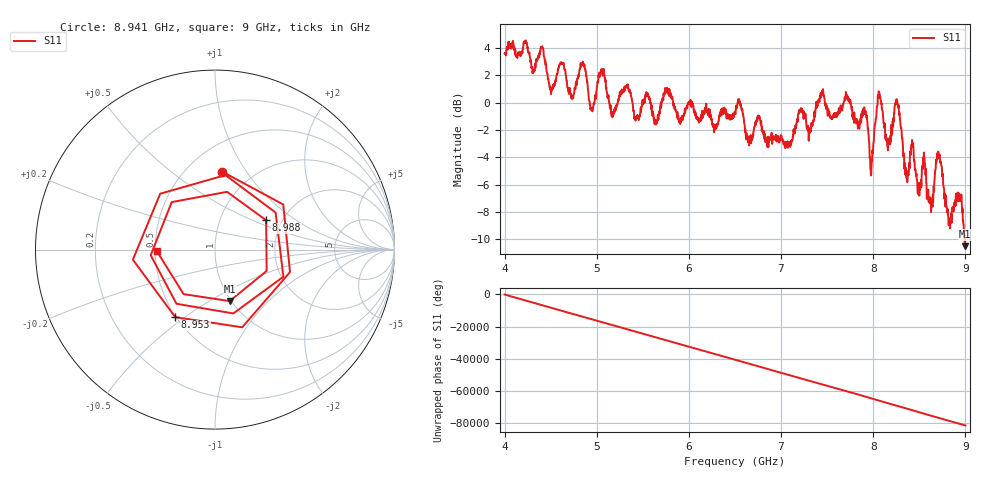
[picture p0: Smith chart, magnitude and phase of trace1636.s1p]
! Created with skrf 1.8.0 (http://scikit-rf.org).
# Hz S RI R 50.0
!freq ReS11 ImS11
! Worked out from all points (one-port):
!   1601 points, 4 GHz to 9 GHz, reference 50 ohm
!   lowest |S11| = -10.5 dB at 8.994 GHz (marker M1), VSWR 1.85, Z = 49.2 - j31 ohm
!   |S11| at or under -10 dB: 8.990125 GHz to 8.998728 GHz (8.603 MHz wide, 0.0956 % of centre)
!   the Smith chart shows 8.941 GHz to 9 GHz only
!   S11 on the Smith chart (normalised r, x): 8.941 GHz: 0.73, +0.78; 8.953 GHz: 0.50, -0.46; 8.988 GHz: 1.66, +0.61; 9 GHz: 0.51, -0.01
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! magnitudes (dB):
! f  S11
! 4 GHz  3.6
! 4.403 GHz  4.0
! 4.509 GHz  0.9
! 4.625 GHz  2.9
! 4.728 GHz  0.5
! 4.856 GHz  2.8
! 4.947 GHz  -0.6
! 5.05 GHz  2.5
! 5.25 GHz  0.8
! 5.875 GHz  -0.7
! 6.5 GHz  -0.7
! 7.125 GHz  -2.7
! 7.75 GHz  0.2
! 7.916 GHz  -0.6
! 7.978 GHz  -5.2
! 8.062 GHz  0.7
! 8.166 GHz  -3.0
! 8.259 GHz  0.1
! 8.375 GHz  -5.0
! 8.425 GHz  -3.3
! 8.625 GHz  -7.2
! 8.706 GHz  -3.6
! 8.825 GHz  -8.8
! 8.941 GHz  -7.2
! 8.953 GHz  -7.2
! 8.988 GHz  -9.7
! 8.994 GHz  -10.5
! 9 GHz  -9.7
